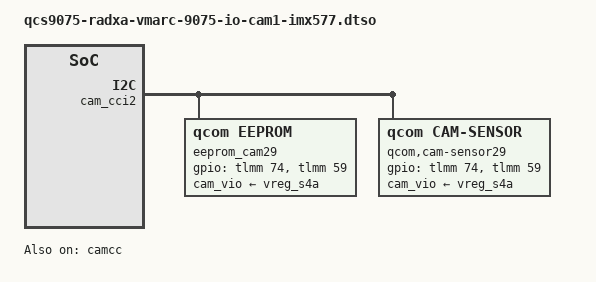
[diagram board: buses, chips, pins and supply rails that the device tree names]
#include <dt-bindings/gpio/gpio.h>
#include <dt-bindings/interrupt-controller/irq.h>
#include <dt-bindings/pinctrl/qcom,pmic-gpio.h>

/ {
	metadata {
		title = "Enable IMX577 camera on CAM1";
		compatible = "radxa,vmarc-q9075-io";
		category = "camera";
		exclusive = "cam_cci2", "gpio59", "gpio74";
		description = "Enable IMX577 camera sensor on CAM1.";
	};
};

&soc {
	qcom,cam-res-mgr {
		compatible = "qcom,cam-res-mgr";
		status = "ok";
		gpios-shared = <518 519 520 521>;
	};
};

&tlmm {
	cam1_imx577_reset_default: cam1-imx577-reset-default-state {
		pins = "gpio59";
		function = "gpio";
		drive-strength = <2>;
		bias-disable;
	};

	cam1_imx577_reset_suspend: cam1-imx577-reset-suspend-state {
		pins = "gpio59";
		function = "gpio";
		drive-strength = <2>;
		bias-pull-down;
	};
};

&camcc {
	status = "okay";
};

&cam_cci3 {
	status = "disabled";
};

&cam_cci2 {
	eeprom_cam29: qcom,eeprom29 {
		cell-index = <29>;
		compatible = "qcom,eeprom";
		cam_vio-supply = <&vreg_s4a>;
		regulator-names = "cam_vio";
		power-domains = <&camcc CAM_CC_TITAN_TOP_GDSC>;
		rgltr-cntrl-support;
		pwm-switch;
		rgltr-min-voltage = <1800000>;
		rgltr-max-voltage = <1800000>;
		rgltr-load-current = <120000>;
		gpio-no-mux = <0>;
		pinctrl-names = "cam_default", "cam_suspend";
		pinctrl-0 = <&cam_sensor_mclk2_active
				     &cam1_imx577_reset_default>;
		pinctrl-1 = <&cam_sensor_mclk2_suspend
				     &cam1_imx577_reset_suspend>;
		gpios = <&tlmm 74 0>,
			<&tlmm 59 0>;
		gpio-reset = <1>;
		gpio-req-tbl-num = <0 1>;
		gpio-req-tbl-flags = <1 0>;
		gpio-req-tbl-label = "CAMIF_MCLK2",
				     "CAM_RESET2";
		sensor-mode = <0>;
		cci-master = <0>;
		clocks = <&camcc CAM_CC_MCLK2_CLK>;
		clock-names = "cam_clk";
		clock-cntl-level = "nominal";
		clock-rates = <24000000>;
		status = "ok";
	};

	qcom,cam-sensor29 {
		cell-index = <29>;
		compatible = "qcom,cam-sensor";
		csiphy-sd-index = <2>;
		sensor-position-roll = <0>;
		sensor-position-pitch = <0>;
		sensor-position-yaw = <180>;
		eeprom-src = <&eeprom_cam29>;
		cam_vio-supply = <&vreg_s4a>;
		regulator-names = "cam_vio";
		power-domains = <&camcc CAM_CC_TITAN_TOP_GDSC>;
		rgltr-cntrl-support;
		pwm-switch;
		rgltr-min-voltage = <1800000>;
		rgltr-max-voltage = <1800000>;
		rgltr-load-current = <120000>;
		gpio-no-mux = <0>;
		pinctrl-names = "cam_default", "cam_suspend";
		pinctrl-0 = <&cam_sensor_mclk2_active
				     &cam1_imx577_reset_default>;
		pinctrl-1 = <&cam_sensor_mclk2_suspend
				     &cam1_imx577_reset_suspend>;
		gpios = <&tlmm 74 0>,
			<&tlmm 59 0>;
		gpio-reset = <1>;
		gpio-req-tbl-num = <0 1>;
		gpio-req-tbl-flags = <1 0>;
		gpio-req-tbl-label = "CAM_MCLK2",
				     "CAMIF_RESET2";
		cci-master = <0>;
		clocks = <&camcc CAM_CC_MCLK2_CLK>;
		clock-names = "cam_clk";
		clock-cntl-level = "nominal";
		clock-rates = <24000000>;
		status = "ok";
	};
};
